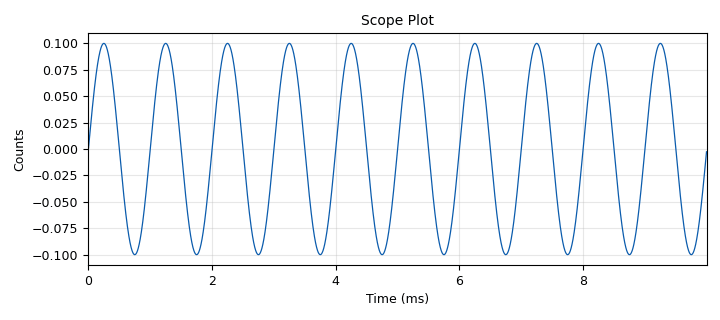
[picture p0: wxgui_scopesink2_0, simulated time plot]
<?xml version='1.0' encoding='utf-8'?>
<flow_graph>
<block>
<key>options</key>
<param><key>id</key><value>top_block</value></param>
<param><key>title</key><value>sinegen</value></param>
<param><key>author</key><value>Frank Ludwig &lt;ludwig.frank@gmail.com&gt;</value></param>
<param><key>description</key><value>Minimal GUI sinwave generator</value></param>
<param><key>generate_options</key><value>wx_gui</value></param>
<param><key>category</key><value>Custom</value></param>
</block>
<block>
<key>variable_chooser</key>
<param><key>id</key><value>audio_mute</value></param>
<param><key>label</key><value>Button</value></param>
<param><key>value</key><value>0</value></param>
<param><key>choices</key><value>[0,1]</value></param>
<param><key>labels</key><value>["Play","Mute"]</value></param>
<param><key>type</key><value>button</value></param>
<param><key>style</key><value>wx.RA_HORIZONTAL</value></param>
</block>
<block>
<key>variable_text_box</key>
<param><key>id</key><value>frequency</value></param>
<param><key>label</key><value>Frquency</value></param>
<param><key>value</key><value>1000</value></param>
<param><key>converver</key><value>float_converter</value></param>
<param><key>formatter</key><value>None</value></param>
</block>
<block>
<key>variable_text_box</key>
<param><key>id</key><value>amplitude</value></param>
<param><key>label</key><value>Amplitude:</value></param>
<param><key>value</key><value>0.1</value></param>
<param><key>converver</key><value>float_converter</value></param>
<param><key>formatter</key><value>None</value></param>
</block>
<block>
<key>variable</key>
<param><key>id</key><value>samp_rate</value></param>
<param><key>value</key><value>480000</value></param>
</block>
<block>
<key>gr_throttle</key>
<param><key>id</key><value>gr_throttle_0</value></param>
<param><key>type</key><value>float</value></param>
<param><key>samples_per_second</key><value>samp_rate</value></param>
<param><key>vlen</key><value>1</value></param>
</block>
<block>
<key>blocks_keep_one_in_n</key>
<param><key>id</key><value>blocks_keep_one_in_n_0</value></param>
<param><key>type</key><value>float</value></param>
<param><key>n</key><value>10</value></param>
</block>
<block>
<key>blocks_multiply_const_vxx</key>
<param><key>id</key><value>blocks_multiply_const_vxx_0</value></param>
<param><key>type</key><value>float</value></param>
<param><key>const</key><value>audio_mute</value></param>
</block>
<block>
<key>audio_sink</key>
<param><key>id</key><value>audio_sink_0</value></param>
<param><key>samp_rate</key><value>samp_rate/10</value></param>
</block>
<block>
<key>wxgui_scopesink2</key>
<param><key>id</key><value>wxgui_scopesink2_0</value></param>
<param><key>type</key><value>float</value></param>
<param><key>title</key><value>Scope Plot</value></param>
<param><key>samp_rate</key><value>samp_rate</value></param>
<param><key>v_scale</key><value>0</value></param>
<param><key>v_offset</key><value>0</value></param>
<param><key>t_scale</key><value>0</value></param>
<param><key>ac_couple</key><value>False</value></param>
<param><key>xy_mode</key><value>False</value></param>
<param><key>num_inputs</key><value>1</value></param>
<param><key>trig_mode</key><value>gr.gr_TRIG_MODE_AUTO</value></param>
<param><key>y_axis_label</key><value>Counts</value></param>
</block>
<block>
<key>variable_chooser</key>
<param><key>id</key><value>wave_form</value></param>
<param><key>label</key><value>Wave Form:</value></param>
<param><key>value</key><value>gr.GR_SIN_WAVE</value></param>
<param><key>choices</key><value>[gr.GR_CONST_WAVE, gr.GR_SIN_WAVE, gr.GR_COS_WAVE, gr.GR_SQR_WAVE, gr.GR_TRI_WAVE, gr.GR_SAW_WAVE]</value></param>
<param><key>labels</key><value>["Constant","Sine","Cosine","Square","Triangle","Sawtooth"]</value></param>
<param><key>type</key><value>drop_down</value></param>
<param><key>style</key><value>wx.RA_HORIZONTAL</value></param>
</block>
<block>
<key>gr_sig_source_x</key>
<param><key>id</key><value>gr_sig_source_x_0</value></param>
<param><key>type</key><value>float</value></param>
<param><key>samp_rate</key><value>samp_rate</value></param>
<param><key>waveform</key><value>wave_form</value></param>
<param><key>freq</key><value>frequency</value></param>
<param><key>amp</key><value>amplitude</value></param>
<param><key>offset</key><value>0</value></param>
</block>
<connection><source_block_id>gr_sig_source_x_0</source_block_id><sink_block_id>gr_throttle_0</sink_block_id><source_key>0</source_key><sink_key>0</sink_key></connection>
<connection><source_block_id>gr_throttle_0</source_block_id><sink_block_id>wxgui_scopesink2_0</sink_block_id><source_key>0</source_key><sink_key>0</sink_key></connection>
<connection><source_block_id>blocks_multiply_const_vxx_0</source_block_id><sink_block_id>audio_sink_0</sink_block_id><source_key>0</source_key><sink_key>0</sink_key></connection>
<connection><source_block_id>gr_throttle_0</source_block_id><sink_block_id>blocks_keep_one_in_n_0</sink_block_id><source_key>0</source_key><sink_key>0</sink_key></connection>
<connection><source_block_id>blocks_keep_one_in_n_0</source_block_id><sink_block_id>blocks_multiply_const_vxx_0</sink_block_id><source_key>0</source_key><sink_key>0</sink_key></connection>
</flow_graph>
